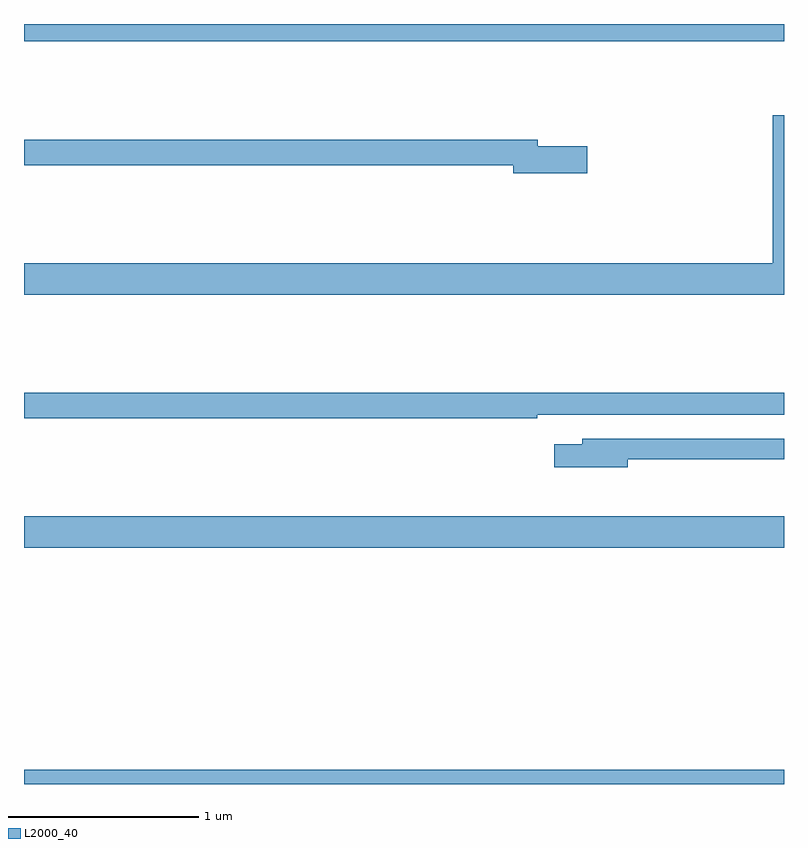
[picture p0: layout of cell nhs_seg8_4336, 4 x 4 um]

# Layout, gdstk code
import gdstk
lib = gdstk.Library(unit=1e-6, precision=1e-09)
def R(c, l, rs):  # rectangles x0, y0, x1, y1
    for r in rs: c.add(gdstk.rectangle(r[:2], r[2:], *l))
def P(c, l, *ps):  # polygons
    for p in ps: c.add(gdstk.Polygon(p, *l))
L2000_40 = (2000, 40)

nhs_seg8_4336 = lib.new_cell('nhs_seg8_4336')
R(nhs_seg8_4336, L2000_40, [(375,1137.9,379,1137.976), (375,1139.144,379,1139.308), (375,1141.808,379,1141.9)])
P(nhs_seg8_4336, L2000_40, [(379,1141.42),(378.941,1141.42),(378.941,1140.64),(375,1140.64),(375,1140.476),(379,1140.476)],
  [(377.965,1141.256),(377.704,1141.256),(377.704,1141.292),(375,1141.292),(375,1141.156),(377.576,1141.156),(377.576,1141.114),(377.965,1141.114)],
  [(377.702,1139.844),(379,1139.844),(379,1139.96),(375,1139.96),(375,1139.824),(377.702,1139.824)],
  [(378.178,1139.61),(379,1139.61),(379,1139.718),(377.939,1139.718),(377.939,1139.689),(377.79,1139.689),(377.79,1139.567),(378.178,1139.567)])

lib.write_gds('nhs_seg8_4336.gds')
